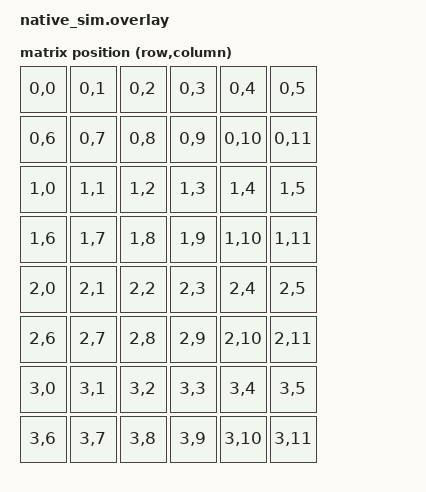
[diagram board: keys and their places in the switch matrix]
/*
 * Copyright (c) 2026 The ZMK Contributors
 * SPDX-License-Identifier: MIT
 */

#include <dt-bindings/zmk/matrix_transform.h>
#include <layouts/common/ortho_4x12/all1u.dtsi>

/ {
    chosen {
        zmk,physical-layout = &layout_ortho_4x12_all1u;
    };

    default_transform: keymap-transform {
        compatible = "zmk,matrix-transform";
        columns = <12>;
        rows = <4>;
        map = <
            RC(0, 0) RC(0, 1) RC(0, 2) RC(0, 3) RC(0, 4) RC(0, 5)
            RC(0, 6) RC(0, 7) RC(0, 8) RC(0, 9) RC(0, 10) RC(0, 11)
            RC(1, 0) RC(1, 1) RC(1, 2) RC(1, 3) RC(1, 4) RC(1, 5)
            RC(1, 6) RC(1, 7) RC(1, 8) RC(1, 9) RC(1, 10) RC(1, 11)
            RC(2, 0) RC(2, 1) RC(2, 2) RC(2, 3) RC(2, 4) RC(2, 5)
            RC(2, 6) RC(2, 7) RC(2, 8) RC(2, 9) RC(2, 10) RC(2, 11)
            RC(3, 0) RC(3, 1) RC(3, 2) RC(3, 3) RC(3, 4) RC(3, 5)
            RC(3, 6) RC(3, 7) RC(3, 8) RC(3, 9) RC(3, 10) RC(3, 11)
        >;
    };

    probe_keys: probe-keys {
        compatible = "keypaw,led-strip-composite-probe";
        chain-length = <2>;
    };

    probe_glow: probe-glow {
        compatible = "keypaw,led-strip-composite-probe";
        chain-length = <3>;
    };

    nested_output: nested-output {
        compatible = "zmk,led-strip-composite";
        strips = <&probe_glow>;
        chain-length = <3>;
    };

    rgb_output: rgb-output {
        compatible = "zmk,led-strip-composite";
        strips = <&probe_keys &nested_output>;
        chain-length = <5>;
    };

    rgb_matrix: rgb-matrix {
        compatible = "keypaw,rgb-matrix";
        strip = <&rgb_output>;
        physical-layout = <&layout_ortho_4x12_all1u>;
        mapping = <11 4 27 9 36>;
    };

    behaviors {
        kprgb: kprgb {
            compatible = "keypaw,behavior-rgb-matrix";
            #binding-cells = <2>;
            initial-on;
            initial-brightness = <100>;
            max-brightness = <100>;
            idle-brightness = <100>;

            fx_static: fx-static {
                compatible = "keypaw,rgb-matrix-static";
                #binding-cells = <0>;
                led-colors = <0x102030 0x405060 0x708090 0xa0b0c0 0xd0e0f0>;
            };
        };
    };
};

&layout_ortho_4x12_all1u {
    transform = <&default_transform>;
};

&kscan {
    rows = <4>;
    columns = <12>;
    events = <>;
    /delete-property/ exit-after;
};
